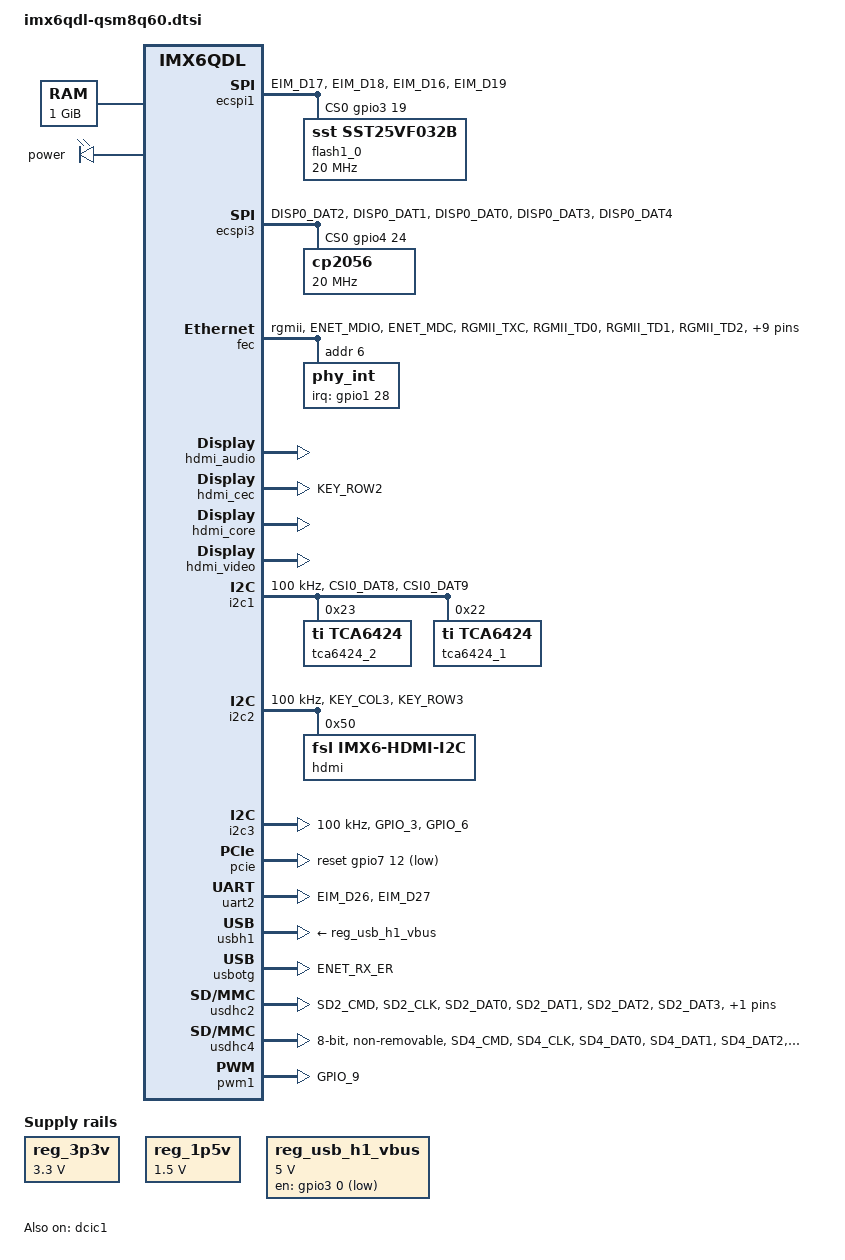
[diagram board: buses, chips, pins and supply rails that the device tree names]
/*
 * Copyright 2012 Freescale Semiconductor, Inc.
 * Copyright 2011 Linaro Ltd.
 *
 * The code contained herein is licensed under the GNU General Public
 * License. You may obtain a copy of the GNU General Public License
 * Version 2 or later at the following locations:
 *
 * http://www.opensource.org/licenses/gpl-license.html
 * http://www.gnu.org/copyleft/gpl.html
 */

#include <dt-bindings/interrupt-controller/irq.h>

/ {
	aliases {
		mmc0 = &usdhc4;
		mmc1 = &usdhc2;
		mxcfb0 = &mxcfb1;
		mxcfb1 = &mxcfb2;
		mxcfb2 = &mxcfb3;
		mxcfb3 = &mxcfb4;
		gpio5 = &tca6424_1;
		gpio6 = &tca6424_2;
	};

	memory {
		reg = <0x10000000 0x40000000>;
	};

	regulators {
		compatible = "simple-bus";

		reg_3p3v: 3p3v {
			compatible = "regulator-fixed";
			regulator-name = "3P3V";
			regulator-min-microvolt = <3300000>;
			regulator-max-microvolt = <3300000>;
			regulator-always-on;
		};

		reg_1p5v: 1p5v {
			compatible = "regulator-fixed";
			regulator-name = "1P5V";
			regulator-min-microvolt = <1500000>;
			regulator-max-microvolt = <1500000>;
			regulator-always-on;
		};

		reg_usb_h1_vbus: usb_h1_vbus {
			compatible = "regulator-fixed";
			regulator-name = "usb_h1_vbus";
			regulator-min-microvolt = <5000000>;
			regulator-max-microvolt = <5000000>;
			gpio = <&gpio3 0 1>; /* QSM-8Q60 - low enable*/

		};
	};

	sound-hdmi {
		compatible = "fsl,imx6q-audio-hdmi",
			     "fsl,imx-audio-hdmi";
		model = "imx-audio-hdmi";
		hdmi-controller = <&hdmi_audio>;
	};

	mxcfb1: fb@0 {
		compatible = "fsl,mxc_sdc_fb";
		disp_dev = "lcd";
		interface_pix_fmt = "RGB666";
		mode_str = "LDB-XGA";
		default_bpp = <16>;
		int_clk = <0>;
		late_init = <0>;
		status = "disabled";
	};

	mxcfb2: fb@1 {
		compatible = "fsl,mxc_sdc_fb";
		disp_dev = "lcd";
		interface_pix_fmt = "RGB565";
		mode_str = "CLAA-WVGA";
		default_bpp = <16>;
		int_clk = <0>;
		late_init = <0>;
		status = "disabled";
	};

	mxcfb3: fb@2 {
		compatible = "fsl,mxc_sdc_fb";
		disp_dev = "lcd";
		interface_pix_fmt = "RGB666";
		mode_str = "LDB-SVGA";
		default_bpp = <16>;
		int_clk = <0>;
		late_init = <0>;
		status = "disabled";
	};

	mxcfb4: fb@3 {
		compatible = "fsl,mxc_sdc_fb";
		disp_dev = "lcd";
		interface_pix_fmt = "RGB666";
		mode_str = "LDB-VGA";
		default_bpp = <16>;
		int_clk = <0>;
		late_init = <0>;
		status = "disabled";
	};


	leds {
		compatible = "gpio-leds";
		power {
			power-led-gpio = <&gpio4 5 0>;
		};
	};
};

&gpio6 {
	status = "disable";
};

&gpio7 {
	status = "disable";
};

&ecspi1 {
	fsl,spi-num-chipselects = <1>;
	cs-gpios = <&gpio3 19 0>;
	pinctrl-names = "default";
	pinctrl-0 = <&pinctrl_ecspi1_1 &pinctrl_ecspi1_cs_1>;
	status = "okay";
	
	flash1_0: m25p80@0 {
		#address-cells = <1>;
		#size-cells = <1>;
		compatible = "sst,sst25vf032b";
		spi-max-frequency = <20000000>;
		reg = <0>;
	};
};

&ecspi3 {
	fsl,spi-num-chipselects = <2>;
	cs-gpios = <&gpio4 24 0>, <&gpio4 25 0>;
	pinctrl-names = "default";
	pinctrl-0 = <&pinctrl_ecspi3_1 &pinctrl_ecspi3_cs_1 &pinctrl_ecspi3_cs_2>;
	status = "okay";

	cp2056@0 {
		compatible = "cp2056";
		spi-max-frequency = <20000000>;
		reg = <0>;
	};
};

&fec {
	pinctrl-names = "default";
	pinctrl-0 = <&pinctrl_enet_4>;
	phy-mode = "rgmii";
	status = "okay";

	#address-cells = <0>;
	#size-cells = <1>;

	phy_int {
		reg = <0x6>;
		interrupt-parent = <&gpio1>;
		interrupts = <28 IRQ_TYPE_LEVEL_LOW>;
	};
};

&hdmi_audio {
	status = "okay";
};

&hdmi_cec {
	pinctrl-names = "default";
	pinctrl-0 = <&pinctrl_hdmi_cec_2>;
	status = "okay";
};

&hdmi_core {
	ipu_id = <0>;
	disp_id = <0>;
	status = "okay";
};

&hdmi_video {
	fsl,phy_reg_vlev = <0x0294>;
	fsl,phy_reg_cksymtx = <0x800d>;
	status = "okay";
};

&i2c1 {
	clock-frequency = <100000>;
	pinctrl-names = "default";
	pinctrl-0 = <&pinctrl_i2c1_2>;
	status = "okay";

	tca6424_2: gpio@23 {
		compatible = "ti,tca6424";
		reg = <0x23>;
	};

	tca6424_1: gpio@22 {
		compatible = "ti,tca6424";
		reg = <0x22>;
	};
};

&i2c2 {
	clock-frequency = <100000>;
	pinctrl-names = "default";
	pinctrl-0 = <&pinctrl_i2c2_2>;
	status = "okay";

	hdmi: edid@50 {
		compatible = "fsl,imx6-hdmi-i2c";
		reg = <0x50>;
	};
};

&i2c3 {
       clock-frequency = <100000>;
       pinctrl-names = "default";
       pinctrl-0 = <&pinctrl_i2c3_2>;
       status = "okay";
};

&pcie {
	reset-gpio = <&gpio7 12 GPIO_ACTIVE_LOW>;
	wake-up-gpio = <&gpio5 20 GPIO_ACTIVE_LOW>;
	status = "okay";
};

&uart2 {
       pinctrl-names = "default";
       pinctrl-0 = <&pinctrl_uart2_1>;
       status = "okay";
};

/* USB */
&usbh1 {
	vbus-supply = <&reg_usb_h1_vbus>;
	pinctrl-1 = <&pinctrl_usbh1_1>;
	status = "okay";
};

&usbotg {
	pinctrl-names = "default";
	pinctrl-0 = <&pinctrl_usbotg_2>;
	disable-over-current;
	status = "okay";
};

/* SD card */
&usdhc2 {
	pinctrl-names = "default";
	pinctrl-0 = <&pinctrl_usdhc2_2>;
	cd-gpios = <&gpio1 4 0>; /* SD2_CD_B */
	no-1-8-v;
	keep-power-in-suspend;
	enable-sdio-wakeup;
	status = "okay";
};

/* eMMC */
&usdhc4 {
	pinctrl-names = "default";
	pinctrl-0 = <&pinctrl_usdhc4_1>;
	bus-width = <8>;
	non-removable;
	no-1-8-v;
	keep-power-in-suspend;
	status = "okay";
};

/* PWM */
&pwm1 {
        pinctrl-names = "default";
        pinctrl-0 = <&pinctrl_pwm1_2>;
        status = "okay";
};

&iomuxc {
	pinctrl-names = "default";
	pinctrl-0 = <&pinctrl_hog_1>;

	hog {
		pinctrl_hog_1: hoggrp-1 {
			fsl,pins = <
				MX6QDL_PAD_SD3_DAT6__GPIO6_IO18		0x80000000	/* E13: CIROUT1 */
				MX6QDL_PAD_SD3_DAT7__GPIO6_IO17		0x80000000	/* F13: CIRIN */
				MX6QDL_PAD_EIM_D25__GPIO3_IO25		0x80000000	/* G22: CIROUT2 */
				MX6QDL_PAD_SD3_DAT2__GPIO7_IO06		0x80000000	/* A15: SPI_WP */
				MX6QDL_PAD_GPIO_2__GPIO1_IO02		0x80000000	/*  T1: GPI_INIT1 */
				MX6QDL_PAD_GPIO_4__GPIO1_IO04		0x80000000	/*  R6: SD2_CD_B */
				MX6QDL_PAD_GPIO_5__GPIO1_IO05		0x80000000	/*  R4: MCU_RST_SOC */
				MX6QDL_PAD_GPIO_7__GPIO1_IO07		0x80000000	/*  R3: MCU_GPI */
				MX6QDL_PAD_GPIO_8__GPIO1_IO08		0x80000000	/*  R5: MCU_GPO */
				MX6QDL_PAD_NANDF_CLE__GPIO6_IO07	0x80000000	/* C15: MCU_WDO_EN GPO */
				MX6QDL_PAD_NANDF_CS0__GPIO6_IO11	0x80000000	/* F15: RECOVER-IN */
				MX6QDL_PAD_NANDF_CS1__GPIO6_IO14	0x80000000	/* C16: GPI_INT2 */
				MX6QDL_PAD_NANDF_CS3__GPIO6_IO16	0x80000000	/* D16: MCU_I2C_INIT */
				MX6QDL_PAD_NANDF_WP_B__GPIO6_IO09	0x80000000	/* E15: 1G/2G */
				MX6QDL_PAD_KEY_ROW1__GPIO4_IO09		0x80000000	/*  U6: USB_4_OC */
				MX6QDL_PAD_EIM_DA0__GPIO3_IO00		0x80000000	/* L20: USB_0_2_3_4_EN */
				MX6QDL_PAD_EIM_D21__USB_OTG_OC		0x80000000	/* H20: USB_0_OTG_OC */
				
				MX6QDL_PAD_NANDF_RB0__GPIO6_IO10	0x80000000

				MX6QDL_PAD_ENET_TX_EN__GPIO1_IO28	0x1b0b0		/* RGMII_INT */
				MX6QDL_PAD_EIM_D22__GPIO3_IO22		0x80000000	/* USB_OTG_PWR_EN */
				MX6QDL_PAD_GPIO_19__GPIO4_IO05		0x80000000	/* PWR_LED */
				MX6QDL_PAD_GPIO_18__GPIO7_IO13		0x80000000	/* USB_HUB_RESET_B */
			>;
		};
	};

	enet {
		pinctrl_enet_4: enetgrp-4 {
			fsl,pins = <
				MX6QDL_PAD_ENET_MDIO__ENET_MDIO		0x1b0b0
				MX6QDL_PAD_ENET_MDC__ENET_MDC		0x1b0b0
				MX6QDL_PAD_RGMII_TXC__RGMII_TXC		0x1b0b0
				MX6QDL_PAD_RGMII_TD0__RGMII_TD0		0x1b0b0
				MX6QDL_PAD_RGMII_TD1__RGMII_TD1		0x1b0b0
				MX6QDL_PAD_RGMII_TD2__RGMII_TD2		0x1b0b0
				MX6QDL_PAD_RGMII_TD3__RGMII_TD3		0x1b0b0
				MX6QDL_PAD_RGMII_TX_CTL__RGMII_TX_CTL	0x1b0b0
				MX6QDL_PAD_ENET_REF_CLK__ENET_TX_CLK	0x1b0b0
				MX6QDL_PAD_RGMII_RXC__RGMII_RXC		0x1b0b0
				MX6QDL_PAD_RGMII_RD0__RGMII_RD0		0x1b0b0
				MX6QDL_PAD_RGMII_RD1__RGMII_RD1		0x1b0b0
				MX6QDL_PAD_RGMII_RD2__RGMII_RD2		0x1b0b0
				MX6QDL_PAD_RGMII_RD3__RGMII_RD3		0x1b0b0
				MX6QDL_PAD_RGMII_RX_CTL__RGMII_RX_CTL	0x1b0b0
			>;
		}; 
	};

	ecspi1 {
		pinctrl_ecspi1_1: ecspi1grp-1 {
			fsl,pins = <
				MX6QDL_PAD_EIM_D17__ECSPI1_MISO 0x100b1
				MX6QDL_PAD_EIM_D18__ECSPI1_MOSI 0x100b1
				MX6QDL_PAD_EIM_D16__ECSPI1_SCLK 0x100b1
			>;
		};

		pinctrl_ecspi1_cs_1: ecspi1_cs_grp-1 {
			fsl,pins = <
				MX6QDL_PAD_EIM_D19__GPIO3_IO19 0x80000000
			>;
		};
	};

	ecspi3 {
		pinctrl_ecspi3_1: ecspi3grp-1 {
			fsl,pins = <
				MX6QDL_PAD_DISP0_DAT2__ECSPI3_MISO 0x100b1
				MX6QDL_PAD_DISP0_DAT1__ECSPI3_MOSI 0x100b1
				MX6QDL_PAD_DISP0_DAT0__ECSPI3_SCLK 0x100b1
			>;
		};

		pinctrl_ecspi3_cs_1: ecspi3_cs_grp-1 {
			fsl,pins = <
				MX6QDL_PAD_DISP0_DAT3__GPIO4_IO24       0x80000000
			>;
		};

		pinctrl_ecspi3_cs_2: ecspi3_cs_grp-2 {
			fsl,pins = <
				MX6QDL_PAD_DISP0_DAT4__GPIO4_IO25       0x80000000
			>;
		};
	};

	usbh1 {
		pinctrl_usbh1_1: usbh1grp-1 {
			fsl,pins = <
				MX6QDL_PAD_EIM_D30__USB_H1_OC	0x80000000 /* J20: USB_2_3_OC */
			>;
		};
	};

	pwm1 {
                pinctrl_pwm1_2: pwm1grp-2 {
                        fsl,pins = <
                                MX6QDL_PAD_GPIO_9__PWM1_OUT 0x1b0b1 /* T2: PWM_OUT1 */
                        >;
                };
        };

	hdmi_cec {
		pinctrl_hdmi_cec_2: hdmicecgrp-2 {
			fsl,pins = <
				MX6QDL_PAD_KEY_ROW2__HDMI_TX_CEC_LINE 0x1f8b0
			>;
		};
	};

	usbotg {
		pinctrl_usbotg_2: usbotggrp-2 {
			fsl,pins = <
				MX6QDL_PAD_ENET_RX_ER__USB_OTG_ID 0x17059
			>;
		};
	};

	usdhc2 {
		pinctrl_usdhc2_2: usdhc2grp-2 {
			fsl,pins = <
				MX6QDL_PAD_SD2_CMD__SD2_CMD    0x17059
				MX6QDL_PAD_SD2_CLK__SD2_CLK    0x10059
				MX6QDL_PAD_SD2_DAT0__SD2_DATA0 0x17059
				MX6QDL_PAD_SD2_DAT1__SD2_DATA1 0x17059
				MX6QDL_PAD_SD2_DAT2__SD2_DATA2 0x17059
				MX6QDL_PAD_SD2_DAT3__SD2_DATA3 0x17059
			>;
		};
	};

	usdhc4 {
		pinctrl_usdhc4_1: usdhc4grp-1 {
			fsl,pins = <
				MX6QDL_PAD_SD4_CMD__SD4_CMD    0x17059
				MX6QDL_PAD_SD4_CLK__SD4_CLK    0x10059
				MX6QDL_PAD_SD4_DAT0__SD4_DATA0 0x17059
				MX6QDL_PAD_SD4_DAT1__SD4_DATA1 0x17059
				MX6QDL_PAD_SD4_DAT2__SD4_DATA2 0x17059
				MX6QDL_PAD_SD4_DAT3__SD4_DATA3 0x17059
				MX6QDL_PAD_SD4_DAT4__SD4_DATA4 0x17059
				MX6QDL_PAD_SD4_DAT5__SD4_DATA5 0x17059
				MX6QDL_PAD_SD4_DAT6__SD4_DATA6 0x17059
				MX6QDL_PAD_SD4_DAT7__SD4_DATA7 0x17059
			>;
		};

	};
	
	i2c1 {
		pinctrl_i2c1_2: i2c1grp-2 {
			fsl,pins = <
				MX6QDL_PAD_CSI0_DAT8__I2C1_SDA 0x4001b8b1
				MX6QDL_PAD_CSI0_DAT9__I2C1_SCL 0x4001b8b1
			>;
		};
	};

	i2c2 {
		pinctrl_i2c2_2: i2c2grp-2 {
			fsl,pins = <
				MX6QDL_PAD_KEY_COL3__I2C2_SCL 0x4001b8b1
				MX6QDL_PAD_KEY_ROW3__I2C2_SDA 0x4001b8b1
			>;
		};
	};

	i2c3 {
		pinctrl_i2c3_2: i2c3grp-2 {
			fsl,pins = <
				MX6QDL_PAD_GPIO_3__I2C3_SCL 0x4001b8b1
				MX6QDL_PAD_GPIO_6__I2C3_SDA 0x4001b8b1
			>;
		};
	};
	
	uart2 {
		pinctrl_uart2_1: uart2grp-1 {
			fsl,pins = <
				MX6QDL_PAD_EIM_D26__UART2_TX_DATA 0x1b0b1
				MX6QDL_PAD_EIM_D27__UART2_RX_DATA 0x1b0b1
			>;
		};
	};
};

&dcic1 {
	dcic_id = <0>;
	dcic_mux = "dcic-hdmi";
	status = "okay";
};
